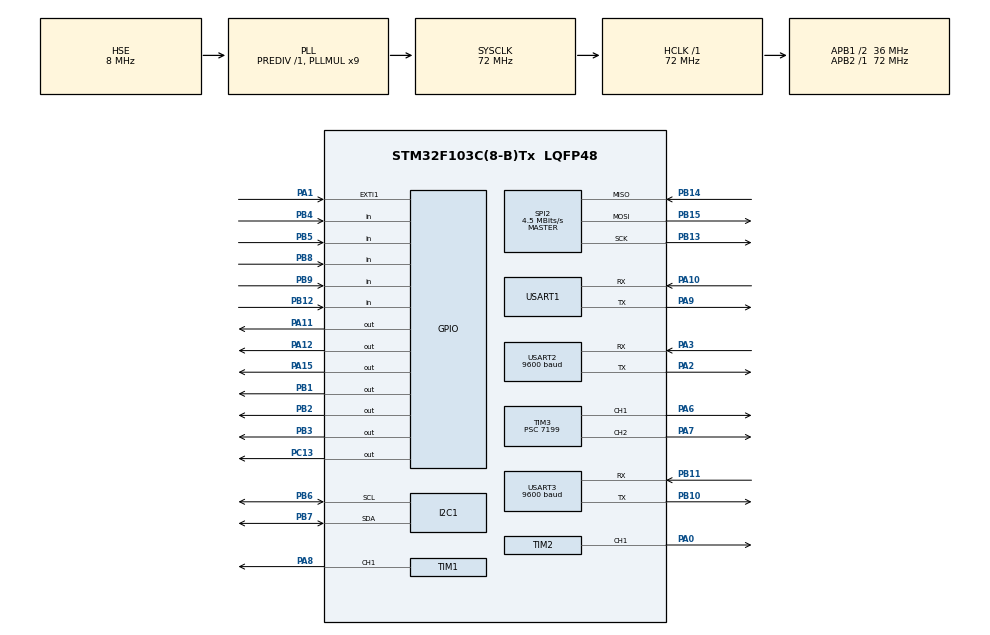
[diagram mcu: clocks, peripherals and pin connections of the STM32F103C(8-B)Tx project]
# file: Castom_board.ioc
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Dma.Request0=USART3_RX
Dma.USART3_RX.0.Direction=DMA_PERIPH_TO_MEMORY
Dma.USART3_RX.0.Instance=DMA1_Channel3
Dma.USART3_RX.0.MemDataAlignment=DMA_MDATAALIGN_BYTE
Dma.USART3_RX.0.MemInc=DMA_MINC_ENABLE
Dma.USART3_RX.0.Mode=DMA_CIRCULAR
Dma.USART3_RX.0.PeriphDataAlignment=DMA_PDATAALIGN_BYTE
Dma.USART3_RX.0.PeriphInc=DMA_PINC_DISABLE
Dma.USART3_RX.0.Priority=DMA_PRIORITY_HIGH
Mcu.Family=STM32F1
Mcu.Name=STM32F103C(8-B)Tx
Mcu.Package=LQFP48
NVIC.DMA1_Channel3_IRQn=true\:0\:0\:false\:false\:true\:false\:true
NVIC.EXTI1_IRQn=true\:1\:0\:true\:false\:true\:true\:true
NVIC.PriorityGroup=NVIC_PRIORITYGROUP_4
NVIC.RCC_IRQn=true\:0\:0\:false\:false\:true\:true\:false
NVIC.TIM3_IRQn=true\:0\:0\:false\:false\:true\:true\:true
NVIC.USART1_IRQn=true\:0\:0\:false\:false\:true\:true\:true
NVIC.USART2_IRQn=true\:0\:0\:false\:false\:true\:true\:true
NVIC.USART3_IRQn=true\:0\:0\:false\:false\:true\:true\:true
PA0-WKUP.Signal=S_TIM2_CH1_ETR
PA1.GPIO_ModeDefaultEXTI=GPIO_MODE_IT_RISING_FALLING
PA1.Signal=GPXTI1
PA10.Mode=Asynchronous
PA10.Signal=USART1_RX
PA11.Signal=GPIO_Output
PA12.Signal=GPIO_Output
PA13.Mode=Serial_Wire
PA13.Signal=SYS_JTMS-SWDIO
PA14.Mode=Serial_Wire
PA14.Signal=SYS_JTCK-SWCLK
PA15.Signal=GPIO_Output
PA2.Mode=Asynchronous
PA2.Signal=USART2_TX
PA3.Mode=Asynchronous
PA3.Signal=USART2_RX
PA6.Signal=S_TIM3_CH1
PA7.Signal=S_TIM3_CH2
PA8.Signal=S_TIM1_CH1
PA9.Mode=Asynchronous
PA9.Signal=USART1_TX
PB1.GPIO_Speed=GPIO_SPEED_FREQ_HIGH
PB1.Signal=GPIO_Output
PB10.Mode=Asynchronous
PB10.Signal=USART3_TX
PB11.Mode=Asynchronous
PB11.Signal=USART3_RX
PB12.Signal=GPIO_Input
PB13.Mode=Full_Duplex_Master
PB13.Signal=SPI2_SCK
PB14.Mode=Full_Duplex_Master
PB14.Signal=SPI2_MISO
PB15.Mode=Full_Duplex_Master
PB15.Signal=SPI2_MOSI
PB2.Signal=GPIO_Output
PB3.Signal=GPIO_Output
PB4.GPIO_PuPd=GPIO_PULLDOWN
PB4.Signal=GPIO_Input
PB5.GPIO_PuPd=GPIO_PULLDOWN
PB5.Signal=GPIO_Input
PB6.Mode=I2C
PB6.Signal=I2C1_SCL
PB7.Mode=I2C
PB7.Signal=I2C1_SDA
PB8.GPIO_PuPd=GPIO_PULLDOWN
PB8.Signal=GPIO_Input
PB9.GPIO_PuPd=GPIO_PULLDOWN
PB9.Signal=GPIO_Input
PC13-TAMPER-RTC.PinState=GPIO_PIN_SET
PC13-TAMPER-RTC.Signal=GPIO_Output
PD0-OSC_IN.Mode=HSE-External-Oscillator
PD0-OSC_IN.Signal=RCC_OSC_IN
PD1-OSC_OUT.Mode=HSE-External-Oscillator
PD1-OSC_OUT.Signal=RCC_OSC_OUT
ProjectManager.HeapSize=0x200
ProjectManager.StackSize=0x400
ProjectManager.TargetToolchain=STM32CubeIDE
RCC.AHBFreq_Value=72000000
RCC.APB1CLKDivider=RCC_HCLK_DIV2
RCC.APB1Freq_Value=36000000
RCC.APB1TimFreq_Value=72000000
RCC.APB2Freq_Value=72000000
RCC.APB2TimFreq_Value=72000000
RCC.HCLKFreq_Value=72000000
RCC.PLLMUL=RCC_PLL_MUL9
RCC.PLLSourceVirtual=RCC_PLLSOURCE_HSE
RCC.SYSCLKFreq_VALUE=72000000
RCC.SYSCLKSource=RCC_SYSCLKSOURCE_PLLCLK
RCC.USBFreq_Value=72000000
SH.S_TIM1_CH1.0=TIM1_CH1,PWM Generation1 CH1
SH.S_TIM2_CH1_ETR.0=TIM2_CH1,PWM Generation1 CH1
SH.S_TIM3_CH1.0=TIM3_CH1,PWM Generation1 CH1
SH.S_TIM3_CH2.0=TIM3_CH2,PWM Generation2 CH2
SPI2.BaudRatePrescaler=SPI_BAUDRATEPRESCALER_8
SPI2.CalculateBaudRate=4.5 MBits/s
SPI2.Direction=SPI_DIRECTION_2LINES
SPI2.Mode=SPI_MODE_MASTER
SPI2.VirtualType=VM_MASTER
TIM1.AutoReloadPreload=TIM_AUTORELOAD_PRELOAD_ENABLE
TIM1.Channel-PWM\ Generation1\ CH1=TIM_CHANNEL_1
TIM1.Period=4000
TIM1.Prescaler=15600
TIM2.AutoReloadPreload=TIM_AUTORELOAD_PRELOAD_ENABLE
TIM2.Channel-PWM\ Generation1\ CH1=TIM_CHANNEL_1
TIM2.OCPolarity_1=TIM_OCPOLARITY_HIGH
TIM2.Period=200
TIM2.Prescaler=7199
TIM2.Pulse-PWM\ Generation1\ CH1=25
TIM3.AutoReloadPreload=TIM_AUTORELOAD_PRELOAD_ENABLE
TIM3.Channel-PWM\ Generation1\ CH1=TIM_CHANNEL_1
TIM3.Channel-PWM\ Generation2\ CH2=TIM_CHANNEL_2
TIM3.Period=100
TIM3.Prescaler=7199
TIM3.Pulse-PWM\ Generation1\ CH1=0
TIM3.Pulse-PWM\ Generation2\ CH2=5000
TIM3.TIM_MasterOutputTrigger=TIM_TRGO_RESET
USART1.VirtualMode=VM_ASYNC
USART2.BaudRate=9600
USART2.VirtualMode=VM_ASYNC
USART3.BaudRate=9600
USART3.VirtualMode=VM_ASYNC
VP_FATFS_VS_Generic.Mode=User_defined
VP_TIM1_VS_ClockSourceINT.Mode=Internal
VP_TIM2_VS_ClockSourceINT.Mode=Internal
VP_TIM3_VS_ClockSourceINT.Mode=Internal
board=custom

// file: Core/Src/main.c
/* USER CODE BEGIN Header */
/**
  ******************************************************************************
  * @file           : main.c
  * @brief          : Main program body
  ******************************************************************************
  * @attention
  *
  * <h2><center>&copy; Copyright (c) 2020 STMicroelectronics.
  * All rights reserved.</center></h2>
  *
  * This software component is licensed by ST under BSD 3-Clause license,
  * the "License"; You may not use this file except in compliance with the
  * License. You may obtain a copy of the License at:
  *                        opensource.org/licenses/BSD-3-Clause
  *
  ******************************************************************************
  */
/* USER CODE END Header */
#include "main.h"
#include "fatfs.h"

/* USER CODE BEGIN Includes */
// Oled
#include "ssd1306.h"
#include "fonts.h"
#include "oled_ssd1306.h"

#include "Si7021_driver.h"
#include "Humidity_and_Temperature_SI7021_sensor.h"

#include "GPS_NEO_6M.h"

#include "Humidity_and_Temperature_AM2302_sensor.h"

#include "Flash_W25Q.h"
#include "w25qxx.h"

#include "Fingerprint_sensor_GT511C3.h"

#include "GSM_IOT_GA6.h"
#include "stdbool.h"

#include "stdio.h"
#include "string.h"               // For work with "strtok" function
#include "stdlib.h"               // For work with "atoi" function

#include "GSM_IOT_GA6.h"

#include "w25qxx.h"

#include "timers.h"

extern GPGGA_data_is_ready;   // Flag. If time data is ready then print it on OLED.
extern uint8_t receive_gps_signal;
/* USER CODE END Includes */

/* USER CODE BEGIN PD */
void test_flash_W25Q(void);
void generate_sound(void);
char read_one_sign_from_keyboard(void);
bool enter_a_mobile_number(char * number);

int gsm_mode(char sign);
int gps_mode(char sign);
int fingerprint_mode(char sign);
int sensors_mode(char sign);

void clearing_buffer(char *array, int size);

char set_ID_number(void);
void servo_motor(bool status);
//void gps_mode(char sign);

uint8_t GPS_buff[512];      						// main buffer for stream from GPS
//void parsing_GPS(uint8_t *GPS_buff, int size_buff);

/* USER CODE END PD */

/* USER CODE BEGIN PM */
#define OLED ON
#define H_a_T_SI7021 ON
#define I2C_SCANNER OFF
#define GPS ON
#define SOUND OFF       // WARNING !!!! IF "ON" Sound UART1 CAN'T WORK !!!!
#define FINGERPRINT OFF

// main modes devices
bool GSM_MODE = false;
bool GPS_MODE = false;
bool FINGERPRINT_MODE = false;
bool SENSORS_MODE = false;

//bool EXIT_FROM_MODE = false;

bool INCOMMING_RING_OR_SMS_STATUS = false;   // It status toggle in extern interrupt

/* USER CODE END PM */

I2C_HandleTypeDef hi2c1;

SPI_HandleTypeDef hspi2;

TIM_HandleTypeDef htim1;
TIM_HandleTypeDef htim2;
TIM_HandleTypeDef htim3;

UART_HandleTypeDef huart1;
UART_HandleTypeDef huart2;
UART_HandleTypeDef huart3;
DMA_HandleTypeDef hdma_usart3_rx;

/* USER CODE BEGIN PV */
// -----------------------------------------------------------------------------
// Receive data from GPS module
#if GPS
	uint8_t flag = 0;					// Flag signals what GPS buffer is full
	void HAL_UART_RxCpltCallback(UART_HandleTypeDef *huart)    // was   void HAL_UART_RxCpltCallback(UART_HandleTypeDef *huart)
	{
		flag = 1;
	}
#endif
// ----------------------------------------------------------------------------

//uint8_t interrupt_flag = 0;

/* USER CODE END PV */

void SystemClock_Config(void);
static void MX_GPIO_Init(void);
static void MX_DMA_Init(void);
static void MX_I2C1_Init(void);
static void MX_USART1_UART_Init(void);
static void MX_USART3_UART_Init(void);
static void MX_SPI2_Init(void);
static void MX_TIM1_Init(void);
static void MX_USART2_UART_Init(void);
static void MX_TIM2_Init(void);
static void MX_TIM3_Init(void);

int main(void)
{

  /* MCU Configuration--------------------------------------------------------*/

  /* Reset of all peripherals, Initializes the Flash interface and the Systick. */
  HAL_Init();

  /* Configure the system clock */
  SystemClock_Config();

  /* Initialize all configured peripherals */
  MX_GPIO_Init();
  MX_DMA_Init();
  MX_I2C1_Init();
  MX_USART1_UART_Init();
  MX_USART3_UART_Init();
  MX_SPI2_Init();
  MX_TIM1_Init();
  MX_USART2_UART_Init();
  MX_TIM2_Init();
  MX_FATFS_Init();
  MX_TIM3_Init();
  /* USER CODE BEGIN 2 */

//  HAL_Delay(5000);

	#if I2C_SCANNER
  		I2C_1_scaner();
	#endif

	#if H_a_T_SI7021
  		//read_T_and_H_SI7021();
	#endif

	#if OLED
  		init_oled();
	  //test_oled();
	#endif

	#if GPS
  		memset(GPS_buff ,0 ,sizeof(GPS_buff));
  		HAL_UART_Receive_DMA(&huart3, GPS_buff, 512);
	#endif

  		//
  	//HAL_TIM_Base_Start_IT(&htim2);

  	//HAL_GPIO_WritePin(GPIOB, GPIO_PIN_0, GPIO_PIN_SET);
  	// Green LED
//  	HAL_TIM_PWM_Init(&htim1);
//  	HAL_TIM_PWM_Start(&htim1, TIM_CHANNEL_2);
//  	while(1)
//  	{
//  		TIM1->CCR2 = 500;
//  	  	HAL_Delay(1000);
//  	  	TIM1->CCR2 = 3900;
//  	  	HAL_Delay(1000);
//  	}

  	// Timmers
  	HAL_TIM_PWM_Start_IT(&htim3,  TIM_CHANNEL_1);			// Big green LED
  	//__HAL_TIM_SET_COMPARE(&htim3, TIM_CHANNEL_1, 0);
//  	TIM3->CCR1 = 10;

  	//HAL_TIM_PWM_Start_IT(&htim3,  TIM_CHANNEL_2);			// Vibro motor

//  	int i =0;
//  	for(i=0; i<=100; i++)
//  	{
//  		__HAL_TIM_SET_COMPARE(&htim3, TIM_CHANNEL_1, i);
//  		HAL_Delay(5);
//  	}
//  	if(i>=100)
//  	{
//  		for(i = 100; i>=0; i--)
//  		{
//  			__HAL_TIM_SET_COMPARE(&htim3, TIM_CHANNEL_1, i);
//  			HAL_Delay(5);
//  		}
//  	}

  	//__HAL_TIM_SET_COMPARE(&htim3, TIM_CHANNEL_1, 10);
//  	int i = 0;
//  	for(i = 0; i<= 10000; i++)
//  	{
//  		TIM3->CCR1 = i;
//  		HAL_Delay(1);
//  	}

  	HAL_TIM_PWM_Start(&htim2, TIM_CHANNEL_1);		// Servo motor

//  	HAL_Delay(1);
//  	servo_motor(false);
  	//HAL_TIM_PWM_Start(&htim2, TIM_CHANNEL_1);

  	///////////////////////////////////////////////////////////////////
  	// Turn on interrupt, if in RX buffer are one byte
  	// Register CR1-> RXNEIE
  	__HAL_UART_ENABLE_IT(&huart2, UART_IT_RXNE);

  /* USER CODE END 2 */

  /* Infinite loop */
  /* USER CODE BEGIN WHILE */

  	// Test led
  	HAL_GPIO_WritePin(GPIOC, GPIO_PIN_13, GPIO_PIN_SET);

  	//HAL_GPIO_WritePin(GPIOA, GPIO_PIN_0, GPIO_PIN_SET);

  #if SOUND
  	uint16_t pulse = 2;
  	uint32_t period = 1;
  	uint16_t max = 200;
  	uint16_t min = 1;

  	HAL_TIM_PWM_Start(&htim1, TIM_CHANNEL_1);

  	for(period = min; period < max; period++)
  	{
  		pulse = period/2;
  		buzzer_fricvency_setings(htim1, TIM_CHANNEL_1, period, pulse);
  		HAL_Delay(1);
  	}
  	if(period >= max)
  	{
  		for(period = max; period > min; period--)
  		{
  			pulse = period/2;
  			buzzer_fricvency_setings(htim1, TIM_CHANNEL_1, period, pulse);
  			HAL_Delay(1);
  		}
  	}
  	HAL_TIM_PWM_Stop(&htim1, TIM_CHANNEL_1); // stop generation of pwm
  #endif

  int EXIT = 0;

while (1)
{
//	test_flash_W25Q();
//	while(1)
//	{
//		HAL_Delay(100);
//	}
	//flash_W25Q();
	//w25_Ini();

	//HAL_Delay(2000);
	//servo_motor(true);
	//TIM2->CCR1 = 25;
	//HAL_Delay(2000);
	//test_function(); 				// TEST FUNCTUION <<<<<<<<<<<<<<<<<<<<<<<<<<<<<<<<<<<<<<<<<<<<<<

	//test_flash_W25Q();

	EXIT = 0;
	char sign = 0;													// Char for keyboard

	touch_bakcklight(0);											// Turn off Fingerprint modeul LED

	print_main_menu();  											// Print main menu on OLED

	do                                                            	// Wait for choice
	{
		sign = read_one_sign_from_keyboard();                     	// Read sign from keyboard

		if(sign == '1')    							// If select GSM mode
		{
			GSM_MODE = true;
			while(GSM_MODE && (EXIT == 0))
			{
				EXIT = gsm_mode(sign);          	// Flash memory: 99.69 - 92.26 = 7.43 %
			}
		}
		if(sign == '2')    							// If select GPS mode
		{
			GPS_MODE = true;
			while (GPS_MODE && (EXIT == 0))
			{
				EXIT = gps_mode(sign);				// Flash memory: 99.69 - 75.37 = 24.32 %
			}
		}
		if(sign == '3')    							// If select FINGERPRINT MODE
		{
			FINGERPRINT_MODE = true;
			while (FINGERPRINT_MODE && (EXIT == 0))
			{
				EXIT = fingerprint_mode(sign);		// Flash memory: 99.69 - 96.17 = 3.52 %
			}
		}
		if(sign == '4')    							// If select SENSORS MODE
		{
			SENSORS_MODE = true;
			while (SENSORS_MODE && (EXIT == 0))
			{
				EXIT = sensors_mode(sign);			// Flash memory: 99.69 - 90.55 %
			}
		}

		ssd1306_UpdateScreen();
		}while ((sign != '1') && (sign != '2') && (sign != '3') && (sign != '4'));     // Select one from 3 modes

    /* USER CODE END WHILE */

  }
}

void SystemClock_Config(void)
{
  RCC_OscInitTypeDef RCC_OscInitStruct = {0};
  RCC_ClkInitTypeDef RCC_ClkInitStruct = {0};

  /** Initializes the RCC Oscillators according to the specified parameters
  * in the RCC_OscInitTypeDef structure.
  */
  RCC_OscInitStruct.OscillatorType = RCC_OSCILLATORTYPE_HSE;
  RCC_OscInitStruct.HSEState = RCC_HSE_ON;
  RCC_OscInitStruct.HSEPredivValue = RCC_HSE_PREDIV_DIV1;
  RCC_OscInitStruct.HSIState = RCC_HSI_ON;
  RCC_OscInitStruct.PLL.PLLState = RCC_PLL_ON;
  RCC_OscInitStruct.PLL.PLLSource = RCC_PLLSOURCE_HSE;
  RCC_OscInitStruct.PLL.PLLMUL = RCC_PLL_MUL9;
  if (HAL_RCC_OscConfig(&RCC_OscInitStruct) != HAL_OK)
  {
    Error_Handler();
  }
  /** Initializes the CPU, AHB and APB buses clocks
  */
  RCC_ClkInitStruct.ClockType = RCC_CLOCKTYPE_HCLK|RCC_CLOCKTYPE_SYSCLK
                              |RCC_CLOCKTYPE_PCLK1|RCC_CLOCKTYPE_PCLK2;
  RCC_ClkInitStruct.SYSCLKSource = RCC_SYSCLKSOURCE_PLLCLK;
  RCC_ClkInitStruct.AHBCLKDivider = RCC_SYSCLK_DIV1;
  RCC_ClkInitStruct.APB1CLKDivider = RCC_HCLK_DIV2;
  RCC_ClkInitStruct.APB2CLKDivider = RCC_HCLK_DIV1;

  if (HAL_RCC_ClockConfig(&RCC_ClkInitStruct, FLASH_LATENCY_2) != HAL_OK)
  {
    Error_Handler();
  }
}

static void MX_I2C1_Init(void)
{

  hi2c1.Instance = I2C1;
  hi2c1.Init.ClockSpeed = 100000;
  hi2c1.Init.DutyCycle = I2C_DUTYCYCLE_2;
  hi2c1.Init.OwnAddress1 = 0;
  hi2c1.Init.AddressingMode = I2C_ADDRESSINGMODE_7BIT;
  hi2c1.Init.DualAddressMode = I2C_DUALADDRESS_DISABLE;
  hi2c1.Init.OwnAddress2 = 0;
  hi2c1.Init.GeneralCallMode = I2C_GENERALCALL_DISABLE;
  hi2c1.Init.NoStretchMode = I2C_NOSTRETCH_DISABLE;
  if (HAL_I2C_Init(&hi2c1) != HAL_OK)
  {
    Error_Handler();
  }

}

static void MX_SPI2_Init(void)
{

  /* SPI2 parameter configuration*/
  hspi2.Instance = SPI2;
  hspi2.Init.Mode = SPI_MODE_MASTER;
  hspi2.Init.Direction = SPI_DIRECTION_2LINES;
  hspi2.Init.DataSize = SPI_DATASIZE_8BIT;
  hspi2.Init.CLKPolarity = SPI_POLARITY_LOW;
  hspi2.Init.CLKPhase = SPI_PHASE_1EDGE;
  hspi2.Init.NSS = SPI_NSS_SOFT;
  hspi2.Init.BaudRatePrescaler = SPI_BAUDRATEPRESCALER_8;
  hspi2.Init.FirstBit = SPI_FIRSTBIT_MSB;
  hspi2.Init.TIMode = SPI_TIMODE_DISABLE;
  hspi2.Init.CRCCalculation = SPI_CRCCALCULATION_DISABLE;
  hspi2.Init.CRCPolynomial = 10;
  if (HAL_SPI_Init(&hspi2) != HAL_OK)
  {
    Error_Handler();
  }

}

static void MX_TIM1_Init(void)
{

  TIM_ClockConfigTypeDef sClockSourceConfig = {0};
  TIM_MasterConfigTypeDef sMasterConfig = {0};
  TIM_OC_InitTypeDef sConfigOC = {0};
  TIM_BreakDeadTimeConfigTypeDef sBreakDeadTimeConfig = {0};

  htim1.Instance = TIM1;
  htim1.Init.Prescaler = 15600;
  htim1.Init.CounterMode = TIM_COUNTERMODE_UP;
  htim1.Init.Period = 4000;
  htim1.Init.ClockDivision = TIM_CLOCKDIVISION_DIV1;
  htim1.Init.RepetitionCounter = 0;
  htim1.Init.AutoReloadPreload = TIM_AUTORELOAD_PRELOAD_ENABLE;
  if (HAL_TIM_Base_Init(&htim1) != HAL_OK)
  {
    Error_Handler();
  }
  sClockSourceConfig.ClockSource = TIM_CLOCKSOURCE_INTERNAL;
  if (HAL_TIM_ConfigClockSource(&htim1, &sClockSourceConfig) != HAL_OK)
  {
    Error_Handler();
  }
  if (HAL_TIM_PWM_Init(&htim1) != HAL_OK)
  {
    Error_Handler();
  }
  sMasterConfig.MasterOutputTrigger = TIM_TRGO_RESET;
  sMasterConfig.MasterSlaveMode = TIM_MASTERSLAVEMODE_DISABLE;
  if (HAL_TIMEx_MasterConfigSynchronization(&htim1, &sMasterConfig) != HAL_OK)
  {
    Error_Handler();
  }
  sConfigOC.OCMode = TIM_OCMODE_PWM1;
  sConfigOC.Pulse = 0;
  sConfigOC.OCPolarity = TIM_OCPOLARITY_HIGH;
  sConfigOC.OCNPolarity = TIM_OCNPOLARITY_HIGH;
  sConfigOC.OCFastMode = TIM_OCFAST_DISABLE;
  sConfigOC.OCIdleState = TIM_OCIDLESTATE_RESET;
  sConfigOC.OCNIdleState = TIM_OCNIDLESTATE_RESET;
  if (HAL_TIM_PWM_ConfigChannel(&htim1, &sConfigOC, TIM_CHANNEL_1) != HAL_OK)
  {
    Error_Handler();
  }
  sBreakDeadTimeConfig.OffStateRunMode = TIM_OSSR_DISABLE;
  sBreakDeadTimeConfig.OffStateIDLEMode = TIM_OSSI_DISABLE;
  sBreakDeadTimeConfig.LockLevel = TIM_LOCKLEVEL_OFF;
  sBreakDeadTimeConfig.DeadTime = 0;
  sBreakDeadTimeConfig.BreakState = TIM_BREAK_DISABLE;
  sBreakDeadTimeConfig.BreakPolarity = TIM_BREAKPOLARITY_HIGH;
  sBreakDeadTimeConfig.AutomaticOutput = TIM_AUTOMATICOUTPUT_DISABLE;
  if (HAL_TIMEx_ConfigBreakDeadTime(&htim1, &sBreakDeadTimeConfig) != HAL_OK)
  {
    Error_Handler();
  }
  HAL_TIM_MspPostInit(&htim1);

}

static void MX_TIM2_Init(void)
{

  TIM_ClockConfigTypeDef sClockSourceConfig = {0};
  TIM_MasterConfigTypeDef sMasterConfig = {0};
  TIM_OC_InitTypeDef sConfigOC = {0};

  htim2.Instance = TIM2;
  htim2.Init.Prescaler = 7199;
  htim2.Init.CounterMode = TIM_COUNTERMODE_UP;
  htim2.Init.Period = 200;
  htim2.Init.ClockDivision = TIM_CLOCKDIVISION_DIV1;
  htim2.Init.AutoReloadPreload = TIM_AUTORELOAD_PRELOAD_ENABLE;
  if (HAL_TIM_Base_Init(&htim2) != HAL_OK)
  {
    Error_Handler();
  }
  sClockSourceConfig.ClockSource = TIM_CLOCKSOURCE_INTERNAL;
  if (HAL_TIM_ConfigClockSource(&htim2, &sClockSourceConfig) != HAL_OK)
  {
    Error_Handler();
  }
  if (HAL_TIM_PWM_Init(&htim2) != HAL_OK)
  {
    Error_Handler();
  }
  sMasterConfig.MasterOutputTrigger = TIM_TRGO_RESET;
  sMasterConfig.MasterSlaveMode = TIM_MASTERSLAVEMODE_DISABLE;
  if (HAL_TIMEx_MasterConfigSynchronization(&htim2, &sMasterConfig) != HAL_OK)
  {
    Error_Handler();
  }
  sConfigOC.OCMode = TIM_OCMODE_PWM1;
  sConfigOC.Pulse = 25;
  sConfigOC.OCPolarity = TIM_OCPOLARITY_HIGH;
  sConfigOC.OCFastMode = TIM_OCFAST_DISABLE;
  if (HAL_TIM_PWM_ConfigChannel(&htim2, &sConfigOC, TIM_CHANNEL_1) != HAL_OK)
  {
    Error_Handler();
  }
  HAL_TIM_MspPostInit(&htim2);

}

static void MX_TIM3_Init(void)
{

  TIM_ClockConfigTypeDef sClockSourceConfig = {0};
  TIM_MasterConfigTypeDef sMasterConfig = {0};
  TIM_OC_InitTypeDef sConfigOC = {0};

  htim3.Instance = TIM3;
  htim3.Init.Prescaler = 7199;
  htim3.Init.CounterMode = TIM_COUNTERMODE_UP;
  htim3.Init.Period = 100;
  htim3.Init.ClockDivision = TIM_CLOCKDIVISION_DIV1;
  htim3.Init.AutoReloadPreload = TIM_AUTORELOAD_PRELOAD_ENABLE;
  if (HAL_TIM_Base_Init(&htim3) != HAL_OK)
  {
    Error_Handler();
  }
  sClockSourceConfig.ClockSource = TIM_CLOCKSOURCE_INTERNAL;
  if (HAL_TIM_ConfigClockSource(&htim3, &sClockSourceConfig) != HAL_OK)
  {
    Error_Handler();
  }
  if (HAL_TIM_PWM_Init(&htim3) != HAL_OK)
  {
    Error_Handler();
  }
  sMasterConfig.MasterOutputTrigger = TIM_TRGO_RESET;
  sMasterConfig.MasterSlaveMode = TIM_MASTERSLAVEMODE_DISABLE;
  if (HAL_TIMEx_MasterConfigSynchronization(&htim3, &sMasterConfig) != HAL_OK)
  {
    Error_Handler();
  }
  sConfigOC.OCMode = TIM_OCMODE_PWM1;
  sConfigOC.Pulse = 0;
  sConfigOC.OCPolarity = TIM_OCPOLARITY_HIGH;
  sConfigOC.OCFastMode = TIM_OCFAST_DISABLE;
  if (HAL_TIM_PWM_ConfigChannel(&htim3, &sConfigOC, TIM_CHANNEL_1) != HAL_OK)
  {
    Error_Handler();
  }
  sConfigOC.Pulse = 5000;
  if (HAL_TIM_PWM_ConfigChannel(&htim3, &sConfigOC, TIM_CHANNEL_2) != HAL_OK)
  {
    Error_Handler();
  }
  HAL_TIM_MspPostInit(&htim3);

}

static void MX_USART1_UART_Init(void)
{

  huart1.Instance = USART1;
  huart1.Init.BaudRate = 115200;
  huart1.Init.WordLength = UART_WORDLENGTH_8B;
  huart1.Init.StopBits = UART_STOPBITS_1;
  huart1.Init.Parity = UART_PARITY_NONE;
  huart1.Init.Mode = UART_MODE_TX_RX;
  huart1.Init.HwFlowCtl = UART_HWCONTROL_NONE;
  huart1.Init.OverSampling = UART_OVERSAMPLING_16;
  if (HAL_UART_Init(&huart1) != HAL_OK)
  {
    Error_Handler();
  }

}

static void MX_USART2_UART_Init(void)
{

  huart2.Instance = USART2;
  huart2.Init.BaudRate = 9600;
  huart2.Init.WordLength = UART_WORDLENGTH_8B;
  huart2.Init.StopBits = UART_STOPBITS_1;
  huart2.Init.Parity = UART_PARITY_NONE;
  huart2.Init.Mode = UART_MODE_TX_RX;
  huart2.Init.HwFlowCtl = UART_HWCONTROL_NONE;
  huart2.Init.OverSampling = UART_OVERSAMPLING_16;
  if (HAL_UART_Init(&huart2) != HAL_OK)
  {
    Error_Handler();
  }

}

static void MX_USART3_UART_Init(void)
{

  huart3.Instance = USART3;
  huart3.Init.BaudRate = 9600;
  huart3.Init.WordLength = UART_WORDLENGTH_8B;
  huart3.Init.StopBits = UART_STOPBITS_1;
  huart3.Init.Parity = UART_PARITY_NONE;
  huart3.Init.Mode = UART_MODE_TX_RX;
  huart3.Init.HwFlowCtl = UART_HWCONTROL_NONE;
  huart3.Init.OverSampling = UART_OVERSAMPLING_16;
  if (HAL_UART_Init(&huart3) != HAL_OK)
  {
    Error_Handler();
  }

}

static void MX_DMA_Init(void)
{

  /* DMA controller clock enable */
  __HAL_RCC_DMA1_CLK_ENABLE();

  /* DMA interrupt init */
  /* DMA1_Channel3_IRQn interrupt configuration */
  HAL_NVIC_SetPriority(DMA1_Channel3_IRQn, 0, 0);
  HAL_NVIC_EnableIRQ(DMA1_Channel3_IRQn);

}

static void MX_GPIO_Init(void)
{
  GPIO_InitTypeDef GPIO_InitStruct = {0};

  /* GPIO Ports Clock Enable */
  __HAL_RCC_GPIOC_CLK_ENABLE();
  __HAL_RCC_GPIOD_CLK_ENABLE();
  __HAL_RCC_GPIOA_CLK_ENABLE();
  __HAL_RCC_GPIOB_CLK_ENABLE();

  /*Configure GPIO pin Output Level */
  HAL_GPIO_WritePin(GPIOC, GPIO_PIN_13, GPIO_PIN_SET);

  /*Configure GPIO pin Output Level */
  HAL_GPIO_WritePin(GPIOB, GPIO_PIN_1|GPIO_PIN_2|GPIO_PIN_3, GPIO_PIN_RESET);

  /*Configure GPIO pin Output Level */
  HAL_GPIO_WritePin(GPIOA, GPIO_PIN_11|GPIO_PIN_12|GPIO_PIN_15, GPIO_PIN_RESET);

  /*Configure GPIO pin : PC13 */
  GPIO_InitStruct.Pin = GPIO_PIN_13;
  GPIO_InitStruct.Mode = GPIO_MODE_OUTPUT_PP;
  GPIO_InitStruct.Pull = GPIO_NOPULL;
  GPIO_InitStruct.Speed = GPIO_SPEED_FREQ_LOW;
  HAL_GPIO_Init(GPIOC, &GPIO_InitStruct);

  /*Configure GPIO pin : PA1 */
  GPIO_InitStruct.Pin = GPIO_PIN_1;
  GPIO_InitStruct.Mode = GPIO_MODE_IT_RISING_FALLING;
  GPIO_InitStruct.Pull = GPIO_NOPULL;
  HAL_GPIO_Init(GPIOA, &GPIO_InitStruct);

  /*Configure GPIO pin : PB1 */
  GPIO_InitStruct.Pin = GPIO_PIN_1;
  GPIO_InitStruct.Mode = GPIO_MODE_OUTPUT_PP;
  GPIO_InitStruct.Pull = GPIO_NOPULL;
  GPIO_InitStruct.Speed = GPIO_SPEED_FREQ_HIGH;
  HAL_GPIO_Init(GPIOB, &GPIO_InitStruct);

  /*Configure GPIO pins : PB2 PB3 */
  GPIO_InitStruct.Pin = GPIO_PIN_2|GPIO_PIN_3;
  GPIO_InitStruct.Mode = GPIO_MODE_OUTPUT_PP;
  GPIO_InitStruct.Pull = GPIO_NOPULL;
  GPIO_InitStruct.Speed = GPIO_SPEED_FREQ_LOW;
  HAL_GPIO_Init(GPIOB, &GPIO_InitStruct);

  /*Configure GPIO pin : PB12 */
  GPIO_InitStruct.Pin = GPIO_PIN_12;
  GPIO_InitStruct.Mode = GPIO_MODE_INPUT;
  GPIO_InitStruct.Pull = GPIO_NOPULL;
  HAL_GPIO_Init(GPIOB, &GPIO_InitStruct);

  /*Configure GPIO pins : PA11 PA12 PA15 */
  GPIO_InitStruct.Pin = GPIO_PIN_11|GPIO_PIN_12|GPIO_PIN_15;
  GPIO_InitStruct.Mode = GPIO_MODE_OUTPUT_PP;
  GPIO_InitStruct.Pull = GPIO_NOPULL;
  GPIO_InitStruct.Speed = GPIO_SPEED_FREQ_LOW;
  HAL_GPIO_Init(GPIOA, &GPIO_InitStruct);

  /*Configure GPIO pins : PB4 PB5 PB8 PB9 */
  GPIO_InitStruct.Pin = GPIO_PIN_4|GPIO_PIN_5|GPIO_PIN_8|GPIO_PIN_9;
  GPIO_InitStruct.Mode = GPIO_MODE_INPUT;
  GPIO_InitStruct.Pull = GPIO_PULLDOWN;
  HAL_GPIO_Init(GPIOB, &GPIO_InitStruct);

  /* EXTI interrupt init*/
  HAL_NVIC_SetPriority(EXTI1_IRQn, 1, 0);
  HAL_NVIC_EnableIRQ(EXTI1_IRQn);

}

/* USER CODE BEGIN 4 */

// ----------------------------------------------------------------------------
void HAL_TIM_PeriodElapsedCallback(TIM_HandleTypeDef *htim)
{
        if(htim->Instance == TIM2) 				//check if the interrupt comes from TIM2
        {
//        	//read_T_and_H_SI7021();
//        	interrupt_flag = 1;

        }
}
// ----------------------------------------------------------------------------
// Function for generate
void buzzer_fricvency_setings(TIM_HandleTypeDef timer, uint32_t channel, uint16_t period, uint16_t pulse)
{
	 HAL_TIM_PWM_Stop(&timer, channel); 					// stop generation of pwm
	 TIM_OC_InitTypeDef sConfigOC;
	 timer.Init.Prescaler = 720;
	 timer.Init.Period = period; 							// set the period duration
	 HAL_TIM_PWM_Init(&timer); 								// reinititialise with new period value
	 sConfigOC.OCMode = TIM_OCMODE_PWM1;
	 sConfigOC.Pulse = pulse; 								// set the pulse duration
	 sConfigOC.OCPolarity = TIM_OCPOLARITY_HIGH;
	 sConfigOC.OCFastMode = TIM_OCFAST_DISABLE;
	 HAL_TIM_PWM_ConfigChannel(&timer, &sConfigOC, channel);
	 HAL_TIM_PWM_Start(&timer, channel); 					// start pwm generation
}
//------------------------------------------------------------------------------
void generate_sound(void)
{
	uint16_t pulse = 2;
	uint32_t period = 1;
	uint16_t max = 200;
	uint16_t min = 1;
	for(period = min; period < max; period++)
	{
		  pulse = period/2;
		  buzzer_fricvency_setings(htim1, TIM_CHANNEL_1, period, pulse);
		  HAL_Delay(1);
	}
	if(period >= max)
	{
		  for(period = max; period > min; period--)
		  	  {
		  		  pulse = period/2;
		  		  buzzer_fricvency_setings(htim1, TIM_CHANNEL_1, period, pulse);
		  		  HAL_Delay(1);
		  	  }
	}
	HAL_TIM_PWM_Stop(&htim1, TIM_CHANNEL_1); // stop generation of pwm
}
// ---------------------------------------------------------------------------
/*
  Its function read one sing from keyboard
 */
char read_one_sign_from_keyboard(void)
{
	// Make external interrupt for read keyboard
	char sign = 0;
	uint8_t readed_status = 0;

	readed_status = 0;
	uint8_t i = 0;

	for(i=1; i<=4; i++)
	{
		if((i == 1) && (readed_status != 1))
		{
			HAL_GPIO_WritePin(GPIOA, GPIO_PIN_11, 1);     // For detect 123A
			HAL_Delay(1);
			if(HAL_GPIO_ReadPin(GPIOB, GPIO_PIN_9))
			{
			  	sign = 'A';
			  	readed_status = 1;
			}

			else if(HAL_GPIO_ReadPin(GPIOB, GPIO_PIN_8))
			{
			  	sign = '3';
			  	readed_status = 1;
			}

			else if(HAL_GPIO_ReadPin(GPIOB, GPIO_PIN_5))
			{
			  	sign = '2';
			  	readed_status = 1;
			}

			else if(HAL_GPIO_ReadPin(GPIOB, GPIO_PIN_4))
			{
			  	sign = '1';
			  	readed_status = 1;
			}
			HAL_GPIO_WritePin(GPIOA, GPIO_PIN_11, 0);
		}

		if((i == 2) && (readed_status != 1))
		{
			HAL_GPIO_WritePin(GPIOA, GPIO_PIN_12, 1);     // For detect 456B
			HAL_Delay(1);
			if(HAL_GPIO_ReadPin(GPIOB, GPIO_PIN_9))
			{
				sign = 'B';
				readed_status = 1;
			}

			else if(HAL_GPIO_ReadPin(GPIOB, GPIO_PIN_8))
			{
				sign = '6';
				readed_status = 1;
			}

			else if(HAL_GPIO_ReadPin(GPIOB, GPIO_PIN_5))
			{
				sign = '5';
				readed_status = 1;
			}

			else if(HAL_GPIO_ReadPin(GPIOB, GPIO_PIN_4))
			{
				sign = '4';
				readed_status = 1;
			}
			HAL_GPIO_WritePin(GPIOA, GPIO_PIN_12, 0);
		}

		if((i == 3) && (readed_status != 1))
		{
		 	HAL_GPIO_WritePin(GPIOA, GPIO_PIN_15, 1);     // For detect 789C
		 	HAL_Delay(1);
		 	if(HAL_GPIO_ReadPin(GPIOB, GPIO_PIN_9))
		 	{
		 		sign = 'C';
		 		readed_status = 1;
		 	}

		 	else if(HAL_GPIO_ReadPin(GPIOB, GPIO_PIN_8))
		 	{
		 		sign = '9';
		 		readed_status = 1;
		 	}

		 	else if(HAL_GPIO_ReadPin(GPIOB, GPIO_PIN_5))
		 	{
		 		sign = '8';
		 		readed_status = 1;
		 	}

		 	else if(HAL_GPIO_ReadPin(GPIOB, GPIO_PIN_4))
		 	{
		 		 sign = '7';
		 		readed_status = 1;
		 	}
		 	HAL_GPIO_WritePin(GPIOA, GPIO_PIN_15, 0);
		}

		if((i == 3) && (readed_status != 1))
		{
		    HAL_GPIO_WritePin(GPIOB, GPIO_PIN_3, 1);     // For detect *0#D
		    HAL_Delay(1);

		   	if(HAL_GPIO_ReadPin(GPIOB, GPIO_PIN_9))
		   	{
		   		sign = 'D';
		   		readed_status = 1;
		   	}

		   	else if(HAL_GPIO_ReadPin(GPIOB, GPIO_PIN_8))
		   	{
		   		 sign = '#';
		   		 readed_status = 1;
		   	}

		   	else if(HAL_GPIO_ReadPin(GPIOB, GPIO_PIN_5))
		   	{
		   		 sign = '0';
		   		 readed_status = 1;
		   	}

		   	else if(HAL_GPIO_ReadPin(GPIOB, GPIO_PIN_4))
		   	{
		   		 sign = '*';
		   		 readed_status = 1;
		   	}
		   	HAL_GPIO_WritePin(GPIOB, GPIO_PIN_3, 0);
		}
	}
	return sign;
}
// ----------------------------------------------------------------------------
int gps_mode(char sign)
{
	// Clearn OLED
	ssd1306_Fill(Black);
	ssd1306_UpdateScreen();
	// Print mode in head
	print_text_on_OLED(0, 1, true, "2.GPS: waiting...");

	uint8_t broken_packet_counter = 0;

	do                                                            	// Wait on choiсe
	{
		sign = read_one_sign_from_keyboard();                       // Read sign from keyboard

		if(sign == '*')    	// If select EXIT  // Exit in main menu
		{
			// Clear all OLED
			ssd1306_Fill(Black);
			ssd1306_UpdateScreen();

			GPS_MODE = false;
			GSM_MODE = false;
			FINGERPRINT_MODE = false;
			SENSORS_MODE = false;

			return 1;   // Flag_fro exit from there
		}
		else
		{
			// Parsing data form GPS
			parsing_GPS(GPS_buff, 512);
			int select_print_data = 1;							// Flag for print GPS data on OLED
			OLED_prinr_all_data(select_print_data);

			if(GPGGA_data_is_ready == 1)						// Check if data from GPS device was correct ( parsed GPGLL line correct)
			{
				// Print the data that GPS is valid
				print_text_on_OLED(0, 1, true, "1.GPS: OK            ");

				broken_packet_counter = 0;
				GPGGA_data_is_ready = 0;
			}
			else												// If bad signal or GPS module was turned off
			{
				broken_packet_counter ++;
				//HAL_Delay(500);
				if((GPGGA_data_is_ready != 1) && (broken_packet_counter >= 20))
				{
					// Print the data that GPS is does not valid
					GPGGA_data_is_ready = 0;
					broken_packet_counter = 0;

					print_text_on_OLED(0, 1, true, "1.GPS: NO SIGNAL  ");
				}
			}

		}
	}while ( (sign != '*'));     // Select one from 3 modes
}
// ----------------------------------------------------------------------------
int gsm_mode(char sign)
{
	// Clearn OLED
	ssd1306_Fill(Black);
	ssd1306_UpdateScreen();
	// Print mode in head
	char str_gsm[50]={0};
	print_text_on_OLED(0, 1, true, "1.GSM: waiting...");

	// Init GSM module
	init_GSM_uart_comunication();
	if(init_gsm_module() == HAL_OK)
	{
		// init OK
		GSM_INIT = 1;
		claen_oled_lines(true, false, false, false, false);
		print_text_on_OLED(0, 1, true, "1.GSM: OK");
	}
	else
	{
		// GSM didn't init
		GSM_INIT = 0;
		claen_oled_lines(true, false, false, false, false);
		print_text_on_OLED(0, 1, true, "1.GSM: ERROR");
		HAL_Delay(2000);
	}
	// END INIT GSM MODULE  //////////////////////////

    if(GSM_INIT == 1)									// If init GSM module corect
    {
    	int incoming_call_status = 0;					// Call status.
    	bool first_time_after_call = false;

    	int print_oled_status = 0;

		// Print GSM menu
    	print_text_on_OLED(0, 2, false, "1.CALL to me");
    	print_text_on_OLED(0, 3, false, "2.CALL on number");
    	print_text_on_OLED(0, 4, true, "3.For send SMS");

		bool incoming_call_status_oled = false;				// Status for blinky
		char incoming_number[15] = {0};						// Buffer for incoming number
		char sign='\0';

		do
		{
			do
			{
				// Wait incoming call

				incoming_call_status = wait_incoming_call(incoming_number);

				if(incoming_call_status == 2)											// detect incoming call
				{

					sign = read_one_sign_from_keyboard();								// Read sign from keyboard
					incoming_call_status = wait_incoming_call(incoming_number);			// Read answer from GSM

					// For print one time
					if(incoming_call_status_oled == false)
					{
						claen_oled_lines(false, true, true, true, true);
						print_text_on_OLED(0, 2, false, "Incoming CALL...");
						print_text_on_OLED(0, 3, false, incoming_number);
						print_text_on_OLED(0, 4, false, "'A':pick up phone");
						print_text_on_OLED(0, 5, true, "'*':end call");

						memset(incoming_number, 0 , sizeof(incoming_number));
					}

					// Waiting for action on incoming call or sms
					do{
						// Start timer for generete vibration siqenses  <<<<<<<<<<<<<<<<< <<<<<<<<<<<<<<<<<<<<<<<<<<<<<<<<<<<<<<<<<<<<<<<<<<<<<<<<<<<<<<<<<<<<<<<<<
						//HAL_TIM_PWM_Start_IT(&htim3,  TIM_CHANNEL_2);			// Vibro motor
						//vibto_motor_status =1;
						//HAL_TIM_PWM_Start_IT(&htim3,  TIM_CHANNEL_2);						// Turn on vibro motor
						HAL_Delay(200);

						sign = read_one_sign_from_keyboard();
						incoming_call_status = wait_incoming_call(incoming_number);			// Read answer from GSM
						//HAL_TIM_PWM_Stop_IT(&htim3,  TIM_CHANNEL_2);						// Turn on vibro motor
						HAL_Delay(100);

					}while ((sign != '*') && (sign != 'A') && (incoming_call_status != 1));

					//HAL_TIM_PWM_Stop_IT
//					HAL_TIM_PWM_Stop_IT(&htim3,  TIM_CHANNEL_2);
//					vibto_motor_status =0;

					if(sign == '*')															// Reject the call
					{
						if(end_of_call() != 1)												// Send "end call" command in GSM module
						{
							// ERROR
						}
						else
						{
							uint8_t i, res = 0;
							for(i=0; i<=6; i++)
							{
								res = i%2;
								if(res)
								{
									print_text_on_OLED(0, 2, true, "CALL END");
									HAL_Delay(200);
								}
								else
								{
									claen_oled_lines(false, true, true, true, true);		// Clean OLED
									HAL_Delay(200);
								}
							}

						}
					}

					if(sign == 'A')													// Pick up the phone
					{
						if(accepts_on_incomming_call() == 1);						// Send "pick up the phone" command in GSM module
						{
							claen_oled_lines(false, true, true, true, true);		// Clean OLED
							print_text_on_OLED(0, 2, false, "SPEAK...");
							print_text_on_OLED(0, 5, true, "'*':end call");

							do{
								HAL_Delay(200);
								sign = read_one_sign_from_keyboard();                      				// Read sign from keyboard
								HAL_Delay(20);
								incoming_call_status = wait_incoming_call(incoming_number);				// Read answer from GSM

								if(incoming_call_status == 1)											// Sometimes GSM module sends wrong answer (BUG)
								{
									HAL_Delay(200);
									incoming_call_status = wait_incoming_call(incoming_number);			// Read answer from GSM again
								}

							}while ((sign != '*') && (incoming_call_status == 3) );

							if(incoming_call_status == 1)												// If end call from phone
							{
								uint8_t i, res = 0;
								for(i=0; i<=6; i++)
								{
									res = i%2;
									if(res)
									{
										print_text_on_OLED(0, 2, true, "CALL END");
										HAL_Delay(200);
									}
									else
									{
										claen_oled_lines(false, true, true, true, true);				// Clean OLED
										HAL_Delay(200);
									}
								}
							}
							if(sign == '*')																// If end call from GSM mode
							{
								if(end_of_call() != 1)													// Send "end call" command in GSM module
								{
																										// ERROR
								}
								else
								{
									uint8_t i, res = 0;
									for(i=0; i<=6; i++)
									{
										res = i%2;
										if(res)
										{
											print_text_on_OLED(0, 2, true, "CALL END");

											HAL_Delay(200);
										}
										else
										{
											claen_oled_lines(false, true, true, true, true);		// Clean OLED
											HAL_Delay(200);
										}
									}
								}
							}
						}
					}
					incoming_call_status_oled = true;
				}
				HAL_Delay(200);
			}while (INCOMMING_RING_OR_SMS_STATUS == true);									// If "Ring" pin is in low (active) state

			// if no any incoming calls or sms
			incoming_call_status = wait_incoming_call(incoming_number);						// Read answer from GSM
			if((INCOMMING_RING_OR_SMS_STATUS == false) && (incoming_call_status == 1))
			{
				if(incoming_call_status_oled == true)										// print menu, only after incoming call or sms
				{
					claen_oled_lines(false, true, true, true, true);

					// Print GSM menu
					print_text_on_OLED(0, 2, false, "1.CALL to me");
					print_text_on_OLED(0, 3, false, "2.CALL on number");
					print_text_on_OLED(0, 4, true, "3.For send SMS");

					incoming_call_status_oled = false;
				}

				HAL_Delay(200);
				sign = read_one_sign_from_keyboard();

				if(sign == '1')																// Call to me
				{
					int call_status = call_on_mu_number();
					show_sratus_call (call_status, str_gsm, sign, 1);

					incoming_call_status_oled = true;
				}

				if(sign == '2')  															// call on number
				{
					// 1. Type mobile number.
					char number[13]={0};													// Buffer where will be save entered number
					uint8_t size_number = 0;												// How many entered digits in number
					bool entered_number_status = false;										// Status number buffer.
					entered_number_status = enter_a_mobile_number(number);					// Enter number

					for(size_number = 0; number[size_number] != '\0'; size_number++){}		// Count digits

					// 2. Call on entered number.
					if(entered_number_status == true)										// If entered all digits will be call on this number
					{
						int call_status = call_on_number(number, size_number);
						show_sratus_call(call_status, str_gsm, sign, 0);
					}
					incoming_call_status_oled = true;
				}

				if(sign == '3')	// sms
				{

				}
			}

		}while ( sign != '*');     // Select one from 3 modes

	}
    else     				// If error init GSM module. Exit from GSM menu
    {
        HAL_Delay(2000);

        // Clear all OLED
        ssd1306_Fill(Black);
        ssd1306_UpdateScreen();

        GSM_MODE = false;
        GPS_MODE = false;
        FINGERPRINT_MODE = false;
        SENSORS_MODE = false;

        return 1;  			 // Flag_fro exit from there
    }
}
// ----------------------------------------------------------------------------
int fingerprint_mode(char sign)
{
	// Clearn OLED
	ssd1306_Fill(Black);
	ssd1306_UpdateScreen();
	// Print modes on OLED
	char str_fingerprint[30]={0};
	// Print menu fingerprint
	print_text_on_OLED(0, 1, false, "3.FINGERPRINT");
	print_text_on_OLED(0, 2, false, "1. Enroll finger");
	print_text_on_OLED(0, 3, false, "2. Delete all IDs");
	print_text_on_OLED(0, 4, false, "3. Identify");
	print_text_on_OLED(0, 5, true, "'*' to EXIT");

	// Init fingerprint mogule
	touch_open(0);
	int u=0;
	for(u = 0; u<=3; u++)
	{
		HAL_Delay(50);
		touch_bakcklight(0);
		HAL_Delay(50);
		touch_bakcklight(1);
	}

	do                                                            // Whaite for choise
	{
		// Place for sensors code
		HAL_Delay(200);
		sign = read_one_sign_from_keyboard();                      // Read sign from keyboard
	    if(sign == '1')
	    {
	    	// Clear all OLED
	        ssd1306_Fill(Black);
	        ssd1306_UpdateScreen();
	        // Print mode in head
	        print_text_on_OLED(0, 1, true, "Set ID");
	        HAL_Delay(1000);
	        // Set ID
	        char ID_set = 0;
	        ID_set = set_ID_number();

	        memset(str_fingerprint, 0 , sizeof(str_fingerprint));
	        strcpy(str_fingerprint, "You set ID: ");
	        // Add ID to the end of string
	        for(int g=0; g<=(sizeof(str_fingerprint)); g++)
	        {
	        	if(str_fingerprint[g] == '\0')
	        	{
	        		str_fingerprint[g] = ID_set;
	        		break;
	        	}
	        }

	        print_text_on_OLED(0, 2, true, str_fingerprint);

	       	HAL_Delay(500);

	        my_identification_enroll_user(ID_set);
	     }

	     if(sign == '2')
	     {
	        // Clear all OLED
	        ssd1306_Fill(Black);
	        ssd1306_UpdateScreen();

	        // Ptint selected menu
	        print_text_on_OLED(0, 1, false, "2. Delete all IDs");
	        print_text_on_OLED(0, 2, true, "Deleting ...");
	      	HAL_Delay(2000);

	        touch_delete_all_fingerprints();

	        claen_oled_lines(true, true, true, true, true);			// Clear previous OLED line
	      }

	      if(sign == '3')
	      {
	    	  // Clear all OLED
	          ssd1306_Fill(Black);
	          ssd1306_UpdateScreen();

	          // Ptint selected menu
	          print_text_on_OLED(0, 1, true, "3. Identify");

	          do                                                            // Waiting for choice
	          {
	        	  	print_text_on_OLED(0, 2, true, "Put your finger..");

	        	 	char ID = 0;
	        	 	ID = identify();

	        	 	// servo part
	        	 	if(ID == '1')
	        	 	{
	        	 		servo_motor(true);
	        	 		claen_oled_lines(false, false, false, false, true);
	        	 		print_text_on_OLED(50, 5, true, "OPEN");
	        	 		//HAL_Delay(500);
	        	 	}
	        	 	else
	        	 	{
	        	 		servo_motor(false);
	        	 		print_text_on_OLED(50, 5, true, "CLOCE");
	        	 	}
	        	 	//

	        	 	if(ID == 0)														// If no any ID
	        	 	{
	        	 		// Make blinky
	        	 		static bool triger = false;
	        	 		if(triger == false)
	        	 		{
	        	 			print_text_on_OLED(0, 3, true, "Access denied   ");
	        	 			HAL_Delay(400);

	        	 			triger = true;
	        	 		}
	        	 		else
	        	 		{
	        	 			claen_oled_lines(false, false, true, false, false);
	        	 			triger = false;
	        	 			HAL_Delay(400);
	        	 		}
	        	 	}
	        	 	// Print on OLED
	        	 	if(ID >=1)														// If ID founded
	        	 	{
	        	 		claen_oled_lines(false, true, true, false, false);			// Clear previous OLED line

	        	 		memset(str_fingerprint, 0 , sizeof(str_fingerprint));
	        	 		sprintf(str_fingerprint,"%s", "Your ID: ");					// Add ID to the end of it string

	        	 		// Find end of the string
	        	 		uint8_t i =0;
	        	 		bool find_flag = true;
	        	 		do{
	        	 			i++;
	        	 		}while (str_fingerprint[i] != '\0');
	        	 		// Add ID to the end of string
	        	 		str_fingerprint[i] = ID;

	        	 		//Print ID on OLED.
	        	 		print_text_on_OLED(0, 3, true, str_fingerprint);

	        	 		HAL_Delay(2000);
	        	 	}

	               sign = read_one_sign_from_keyboard();                      // Read sign from keyboard

	               if(sign == '*')    // If select EXIT  // Exit in main menu
	               {
	            	   servo_motor(false);

	                   // Clear all OLED
	                   ssd1306_Fill(Black);
	                   ssd1306_UpdateScreen();

	                   GPS_MODE = false;
	                   GSM_MODE = false;
	                   FINGERPRINT_MODE = false;
	                   SENSORS_MODE = false;

	                   return 1;          // Flag_fro exit from there
	                }
	           }while (sign != '*');     // Select EXIT
	       }

		   if(sign == '*')    // If select EXIT  // Exit in main menu
		   {

			    // Clear all OLED
				ssd1306_Fill(Black);
				ssd1306_UpdateScreen();

				GPS_MODE = false;
				GSM_MODE = false;
				FINGERPRINT_MODE = false;
				SENSORS_MODE = false;

				return 1;          // Flag_fro exit from there
			}
		   }while ((sign != '1') && (sign != '2') && (sign != '3') && (sign != '*') );     // Select one from 3 modes
}
// ----------------------------------------------------------------------------

int sensors_mode(char sign)
{
		// Clear all OLED
		ssd1306_Fill(Black);
		ssd1306_UpdateScreen();

		// Print mode in head
		char str_sensors[50]={0};
		print_text_on_OLED(0, 1, false, "4.SENSORS");

		// Print menu
		print_text_on_OLED(0, 2, false, "1. Run all sensors");
		print_text_on_OLED(0, 3, false, "2. Del & Log data");
		print_text_on_OLED(0, 4, false, "3. Add log data");
		print_text_on_OLED(0, 5, true, "4. Show log data");

		// Init W25Q128
		W25qxx_Init();
		W25qxx_ReadID();

		do                                                            	// Wait for the choice
			{
			// Place for sensors code
			HAL_Delay(300);
			sign = read_one_sign_from_keyboard();                      // Read sign from keyboard

            if(sign == '1')
            {
            	// Clear all OLED
            	ssd1306_Fill(Black);
            	ssd1306_UpdateScreen();

            	// Print selected menu
            	print_text_on_OLED(0, 1, true, "1. Run all sensors");

            	do                                                      // Wait for the choice
            	{
            		read_T_and_H_SI7021();												// Measure and save data in global variable
            		uint8_t motion_status = HAL_GPIO_ReadPin(GPIOB, GPIO_PIN_12);		// Read state motion sensor

            		if(motion_status == 1)		// Detect motion
            		{
            			strcpy(motion_sensor_data, "Yes");
            		}
            		if(motion_status == 0)		// No any motion
            		{
            			strcpy(motion_sensor_data, "No ");
            		}

            		int select_print_data = 4;							// Flag for print sensors data on OLED
            		OLED_prinr_all_data(select_print_data);

            		sign = read_one_sign_from_keyboard();               // Read sign from keyboard

            		if(sign == '*')    									// If select EXIT  // Exit in main menu
            		{
            			// Clear all OLED
            			ssd1306_Fill(Black);
            			ssd1306_UpdateScreen();

            			GPS_MODE = false;
            			GSM_MODE = false;
            			FINGERPRINT_MODE = false;
            			SENSORS_MODE = false;

            			return 1;          								// Flag_fro exit from there
            		}
            	}while (sign != '*');     								// Select EXIT
            }

            if(sign == '2')
            {
                // Clear all OLED
                ssd1306_Fill(Black);
               	ssd1306_UpdateScreen();

                // Print selected menu
               	print_text_on_OLED(0, 1, true, "2. Del & Log data");
                print_text_on_OLED(0, 2, true, "Erasing flash ...");

               	W25qxx_EraseChip();

               	claen_oled_lines(false, true, true, true, true);
               	print_text_on_OLED(0, 2, true, "Rrased OK");
               	HAL_Delay(1000);
               	claen_oled_lines(false, true, true, true, true);

               	int count_of_saved_data = 0;

                do                                                            	// Wait for the choice
                {
                	read_T_and_H_SI7021();										// Read data in global variables
                	save_data(temperature_si7021, humidity_si7021);				// Save data in flash
                	print_all_sensors_data(true, false, false);					// Print only si7021 data on OLED

                	char buf_count_of_saved_data[7] = {0};
                	itoa(count_of_saved_data, buf_count_of_saved_data, 10);		// Convert number on string

                	print_text_on_OLED(0, 3, false, "Logging...");
                	print_text_on_OLED(75, 3, true, buf_count_of_saved_data);	// Print counter on OLED

                	count_of_saved_data++;

                	// Read for test
//                	char page_read_buffer_test[265] = {0};
//                	W25qxx_ReadPage(page_read_buffer_test, 0, 0, 0);

                	HAL_Delay(500);
                	sign = read_one_sign_from_keyboard();                      // Read sign from keyboard

                    if(sign == '*')										// If select EXIT  // Exit in main menu
                    {
                    	// Clear all OLED
                    	ssd1306_Fill(Black);
                    	ssd1306_UpdateScreen();

                    	GPS_MODE = false;
                    	GSM_MODE = false;
                    	FINGERPRINT_MODE = false;
                    	SENSORS_MODE = false;

                    	return 1;										// Flag_fro exit from there
                     }
                 }while (sign != '*');									// Select EXIT
            }

            if(sign == '3')
            {
                 // Clear all OLED
                 ssd1306_Fill(Black);
                 ssd1306_UpdateScreen();

                 // Print selected menu
                 print_text_on_OLED(0, 1, true, "3. Add log data");

                 do                                                            	// Wait for the choice
                 {
                      // Place for code function 3

                      sign = read_one_sign_from_keyboard();                      // Read sign from keyboard

                      if(sign == '*')   										 // If select EXIT  // Exit in main menu
                      {
                           // Clear all OLED
                           ssd1306_Fill(Black);
                           ssd1306_UpdateScreen();

                           GPS_MODE = false;
                           GSM_MODE = false;
                           FINGERPRINT_MODE = false;
                           SENSORS_MODE = false;

                           return 1;          // Flag_fro exit from there
                      }
                  }while (sign != '*');     // Select EXIT

                 // Place for code function 3
            }

			if(sign == '*')    													// If select EXIT  // Exit in main menu
			{
				// Clear all OLED
				ssd1306_Fill(Black);
				ssd1306_UpdateScreen();

				GPS_MODE = false;
				GSM_MODE = false;
				FINGERPRINT_MODE = false;
				SENSORS_MODE = false;

				return 1;          // Flag_fro exit from there
			}

			if(sign == '4')
			{
				// Clear all OLED
			    ssd1306_Fill(Black);
			    ssd1306_UpdateScreen();

			    // Print selected menu
			    print_text_on_OLED(0, 1, true, "4. Show log data");

			    // Print first rows on OLED
			    int ofset = 0;
			    char page_read_buffer[4096] = {0};       // 99.66% Flash    96.81 %
//			    char *page_read_buffer = (char*)calloc(4096, sizeof(char));
//			    if(page_read_buffer == NULL)
//			    {
//			    	exit(1);
//			    }
			    //зробити перевірку, чи виділяється память
                //ПРоблема!! не завжди всі данф логуються !!!

			    uint32_t Page_Address = 0;
			    W25qxx_ReadSector(page_read_buffer, Page_Address , 0, 0);
			   	for(uint8_t i = 2; i<=5; i++)
			   	{
			   		char oled_buff[19] = {0};
			   		for(uint8_t k = 0; k <= sizeof(oled_buff); k++)
			   		{
			   			oled_buff[k] = page_read_buffer[k+ ofset];
			   		}
			   		print_text_on_OLED(0, i, true, oled_buff);
			   		ofset = ofset +32;
			   	}
			   	uint32_t k = 0;
			   	uint32_t rows_caunter = 0;										// Counter for detect sector overread

			    do                                                            	// Wait for the choice
			    {
			    	HAL_Delay(300);
			        sign = read_one_sign_from_keyboard();                      // Read sign from keyboard

			        if(sign == '1')												// Navigation up -4 items
			        {
			        	HAL_Delay(500);
			        	claen_oled_lines(false, true, true, true, true);		// Clear OLED

			        	ofset = ofset - 256;									// For prevent address < 0
			        	if(ofset < 0)
			        	{
			        		ofset = 0;
			        	}

			        	for(uint8_t i = 2; i<=5; i++)							// Print 4 rows on OLED
			        	{
			        		char oled_buff[19] = {0};
			        		for(k = 0; k <= sizeof(oled_buff); k++)
			        		{
			        			oled_buff[k] = page_read_buffer[k + ofset];
			        		}
			        		print_text_on_OLED(0, i, true, oled_buff);
			        		ofset = ofset + 32; 								// 32: sizeof (test_array)
			        	}
			        }
			        if(sign == '2')												// Navigation down +4 items
			        {
			        	HAL_Delay(500);
			        	claen_oled_lines(false, true, true, true, true);		// Clear OLED

			        	for(uint8_t i = 2; i<=5; i++)							// Print 4 rows on OLED
			        	{
							char oled_buff[19] = {0};
							for(k = 0; k <= sizeof(oled_buff); k++)
							{
								oled_buff[k] = page_read_buffer[k + ofset];
							}
							print_text_on_OLED(0, i, true, oled_buff);
							ofset = ofset + 32;
			        	}
			        }

			        if(sign == '*')    // If select EXIT  // Exit in main menu
			        {
			        	//free(page_read_buffer);

			        	// Clear all OLED
			        	ssd1306_Fill(Black);
			        	ssd1306_UpdateScreen();

			        	GPS_MODE = false;
			        	GSM_MODE = false;
			        	FINGERPRINT_MODE = false;
			        	SENSORS_MODE = false;

			        	return 1;          // Flag_fro exit from there
			        }
				}while (sign != '*');     // Select EXIT
			}

		}while ((sign != '1') && (sign != '2') && (sign != '3') && (sign != '4') &&(sign != '*') );     // Select one from 3 modes
}
// ----------------------------------------------------------------------------
/* After output call this function show call status
 */
void show_sratus_call(int call_status, char *str_gsm, char sign, uint8_t where_call)
{
	if (where_call == 1)   // If call to me
	{
		// Clean OLED
		claen_oled_lines(false, true, true, true, true);
		HAL_Delay(500);
	}

	if (call_status == 1)
	{
		print_text_on_OLED(0, 4, false, "STATUS: Call out...");
		print_text_on_OLED(0, 5, true, "#: for end call");
	}
	else
	{
		print_text_on_OLED(0, 4, true, "STATUS: ERROR CALL");
	}
	// waiting answer from GSM module

	int gsm_out_call_stattus = 0;
	while ((sign != '#') && (gsm_out_call_stattus != 1) && (gsm_out_call_stattus != 2)
	&& (gsm_out_call_stattus != 3))
	{
		sign = read_one_sign_from_keyboard();
		gsm_out_call_stattus = wait_ansver_after_make_call_in_blok_mode();
	}

	if (sign == '#')
	{
		end_of_call();
		print_text_on_OLED(0, 4, true, "STATUS: CALL END   ");
		HAL_Delay(2000);
	}

	switch (gsm_out_call_stattus)
	{
		case 1:
			// Rejected the phone call
			print_text_on_OLED(0, 4, true, "STATUS: BUSY           ");
			HAL_Delay(2000);
			break;

		case 2:
			// The phone was not picked up
			print_text_on_OLED(0, 4, true, "STATUS: NO ANSWER    ");
			HAL_Delay(2000);
			break;

		case 3:
			// The phone was picked up and knocked down
			print_text_on_OLED(0, 4, true, "STATUS: CALL END   ");
			HAL_Delay(2000);
			break;

		}
}
// ----------------------------------------------------------------------------
// Setting ID for enrollment finger
char set_ID_number(void)
{
	char set_ID = 0;
	char sing_number = 0;
	bool entered_number_status = false;

	do{
		do{
			set_ID = read_one_sign_from_keyboard();
		}while((set_ID <1) && (set_ID >9));

		HAL_Delay(200);
	}while(set_ID <= 0 );

	return set_ID;
}
// ----------------------------------------------------------------------------
/*	Function can writes mobile number.
 * For example 380XXXXXXXXX.
 * And delete wrong entered digits.
 * If entered all digits function finish work.
 */
bool enter_a_mobile_number(char * number)
{
	bool entered_number_status = false;
	char str[30] = {0};
	// 1. Clean OLED
	claen_oled_lines(false, true, true, true, true);
	HAL_Delay(500);

    // 2. Type numbers
	print_text_on_OLED(0, 2, true, "Enter number:");

	uint8_t k = 0;
	char sing_number;
	do{
		sing_number = read_one_sign_from_keyboard();
		if ((sing_number != '\0') && (sing_number != 'D'))  	// Enter one digit
		{
			number[k] = sing_number;
			k++;

			// print all mumbers
			print_text_on_OLED(0, 3, true, number);

		}
		if((sing_number == 'D') && (k >=1))						// Delete one digit
		{
			k--;
			number[k] = ' ';
			print_text_on_OLED(0, 3, true, number);
		}

		if(k == 12)												// If all digits was entered
		{
			entered_number_status = true;						// Status. All digit entered
		}

		HAL_Delay(200);
	}while ((sing_number != '*') && (entered_number_status != true));

	return entered_number_status;
}
// ----------------------------------------------------------------------------
/* Interrupt can detect signal "ring" from "ring" pin from GSM module.
 * That STATUS must check timer every 0.5 sec
 * If INCOMMING_RING_OR_SMS_STATUS == true
 * 		turn on "incoming call" function
 */
void HAL_GPIO_EXTI_Callback(uint16_t GPIO_Pin)
{
	if(GPIO_Pin == GPIO_PIN_1)
	{
		if(HAL_GPIO_ReadPin(GPIOA,GPIO_PIN_1) == GPIO_PIN_RESET)
		{
			HAL_GPIO_WritePin(GPIOC, GPIO_PIN_13, GPIO_PIN_RESET);
			INCOMMING_RING_OR_SMS_STATUS = true;				// Check it status if it is 'true' we have incoming ring or sms
		}
		if(HAL_GPIO_ReadPin(GPIOA,GPIO_PIN_1) == GPIO_PIN_SET)
		{
			HAL_GPIO_WritePin(GPIOC, GPIO_PIN_13, GPIO_PIN_SET);
			INCOMMING_RING_OR_SMS_STATUS = false;
		}
		//HAL_GPIO_TogglePin(GPIOC, GPIO_PIN_13);

	}
}
// ----------------------------------------------------------------------------
void servo_motor(bool status)
{
	if(status == false)		// Close servo
	{
		TIM2->CCR1 = 25;
	}
	if(status == true)		// Open servo
	{
		TIM2->CCR1 = 15;
	}
}
// ----------------------------------------------------------------------------

/////////////////////////////////////////////////////////////////////////////////////////////////////
////////////////////////////////////////////////////////////////////////////////////////////////////
/* USER CODE END 4 */

void Error_Handler(void)
{
}

/************************ (C) COPYRIGHT STMicroelectronics *****END OF FILE****/
